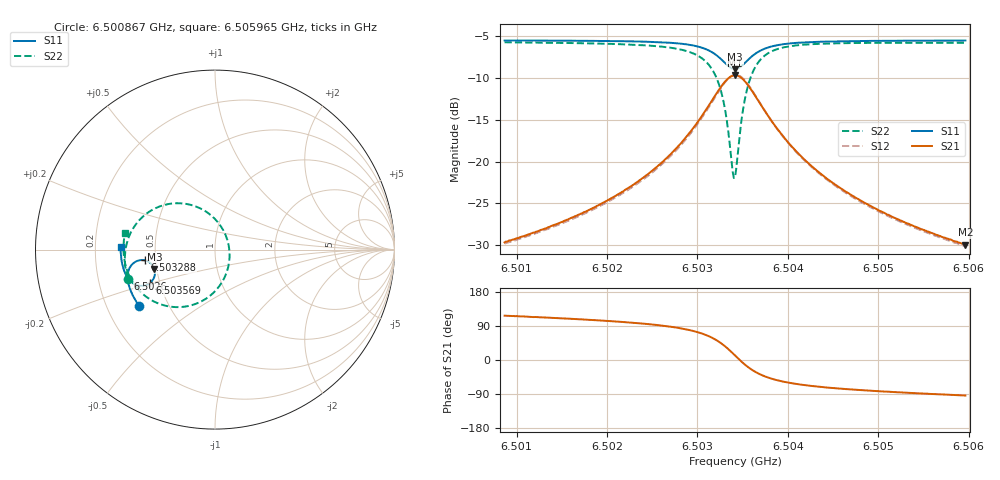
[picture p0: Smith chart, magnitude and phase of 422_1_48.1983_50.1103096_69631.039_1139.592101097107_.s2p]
#  HZ  S  RI  R  50.00
! Rohde & Schwarz Vector Network Analyzer
! Rohde-Schwarz,ZNB20-2Port,1311601062101988,3.16
! Created: UTC 3/20/2024, 11:54:58 AM
! freq[Hz]  re:S11  im:S11  re:S21  im:S21  re:S12  im:S12  re:S22  im:S22
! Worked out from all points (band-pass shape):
!   401 points, 6.500867 GHz to 6.505965 GHz, reference 50 ohm
!   highest |S21| = -9.72 dB at 6.503416 GHz (marker M1); lowest = -29.9 dB at 6.505965 GHz (marker M2)
!   |S21| within 3 dB of the highest: 6.503161 GHz to 6.503671 GHz (510.5 kHz wide, 0.00785 % of centre)
!   lowest |S11| = -9.0 dB at 6.503416 GHz (marker M3), VSWR 2.10, Z = 24.3 - j6 ohm
!   |S11| at or under -10 dB: nowhere
!   |S22| runs from -22.0 to -5.8 dB; largest |S21 - S12| = 0.011
!   S11 on the Smith chart (normalised r, x): 6.500867 GHz: 0.34, -0.30; 6.5026 GHz: 0.33, -0.15; 6.503288 GHz: 0.44, -0.06; 6.503569 GHz: 0.44, -0.20; 6.505965 GHz: 0.31, +0.01
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6.5008666e9  -0.4225 -0.3143  -0.0149 0.0294  -0.0133 0.0296  -0.4871 -0.1624
6.5017206e9  -0.4598 -0.2519  -0.0145 0.0468  -0.0121 0.0465  -0.5017 -0.073
6.5021666e9  -0.4758 -0.2129  -0.0119 0.0649  -0.00898 0.0638  -0.4998 -0.0111
6.5025745e9  -0.486 -0.1688  -0.00288 0.0953  0.000794 0.0931  -0.4808 0.068
6.5026e9  -0.4864 -0.1655  -0.00183 0.0981  0.00184 0.0955  -0.4785 0.0742
6.5028931e9  -0.483 -0.1208  0.025 0.1414  0.0287 0.1371  -0.4228 0.1629
6.5030843e9  -0.4623 -0.0828  0.0781 0.1833  0.0808 0.1773  -0.3211 0.2353
6.503199e9  -0.4302 -0.062  0.1464 0.201  0.1472 0.1948  -0.1983 0.2582
6.5032883e9  -0.3902 -0.0601  0.225 0.1857  0.2255 0.1804  -0.0626 0.2194
6.5033265e9  -0.371 -0.0674  0.2613 0.1629  0.2621 0.1584  -0.00297 0.1733
6.5033902e9  -0.3444 -0.0935  0.309 0.0999  0.3115 0.095  0.0693 0.0522
6.5034157e9  -0.338 -0.1081  0.3194 0.068  0.3225 0.0622  0.0803 -0.0072
6.5034412e9  -0.3349 -0.1235  0.3232 0.0346  0.3266 0.0277  0.079 -0.0681
6.5035049e9  -0.3417 -0.1604  0.3058 -0.0429  0.3078 -0.0528  0.0247 -0.2027
6.5035687e9  -0.3627 -0.1863  0.2635 -0.097  0.2622 -0.1081  -0.0706 -0.2857
6.5036706e9  -0.4019 -0.2018  0.1892 -0.1334  0.184 -0.1428  -0.2194 -0.3203
6.5038363e9  -0.4478 -0.192  0.1081 -0.1307  0.101 -0.1357  -0.3659 -0.2745
6.5040147e9  -0.4752 -0.1709  0.0637 -0.1109  0.0576 -0.1132  -0.4378 -0.2104
6.5042697e9  -0.4961 -0.1409  0.034 -0.0868  0.0291 -0.0873  -0.4811 -0.1386
6.504652e9  -0.5116 -0.1013  0.015 -0.0639  0.0116 -0.0635  -0.5036 -0.064
6.5051236e9  -0.521 -0.0579  0.00513 -0.0475  0.00286 -0.0468  -0.5098 0.00184
6.5059648e9  -0.5259 0.0131  -0.00212 -0.0319  -0.00333 -0.0311  -0.502 0.0898
